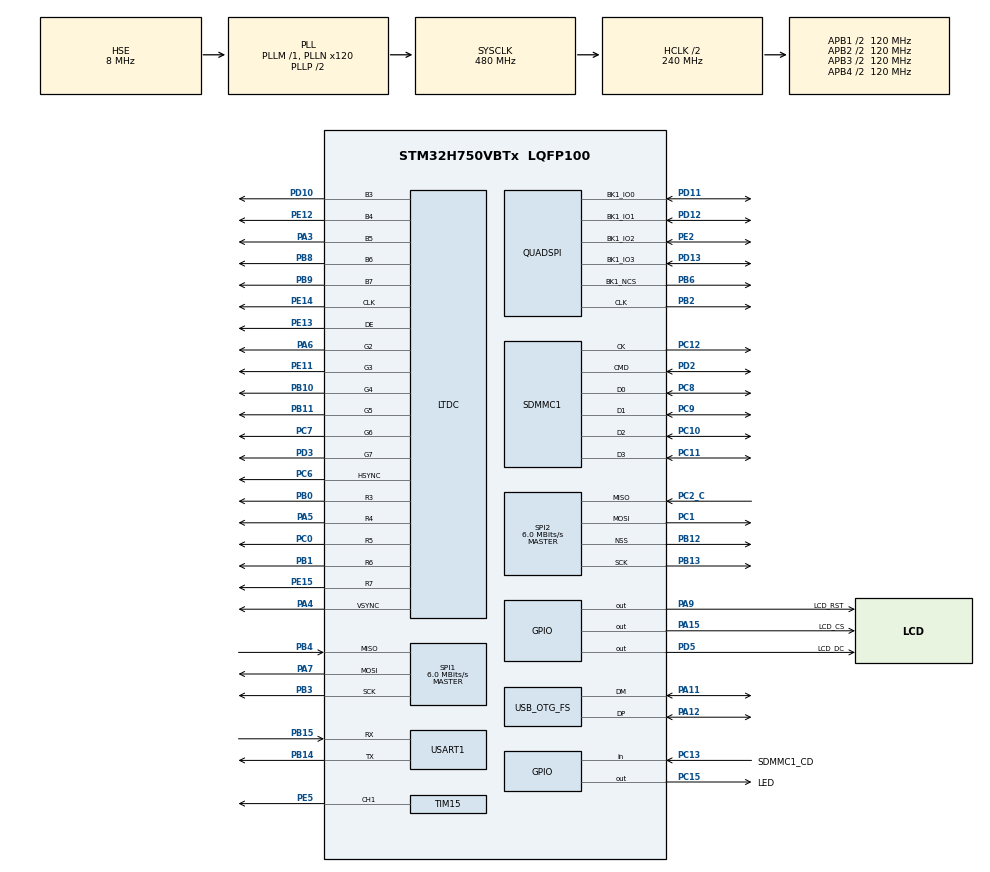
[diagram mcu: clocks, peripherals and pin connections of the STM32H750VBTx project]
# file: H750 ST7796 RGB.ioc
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DMA2D.BytesSwap=DMA2D_BYTES_REGULAR
DMA2D.ColorMode=DMA2D_OUTPUT_RGB565
DMA2D.LineOffsetMode=DMA2D_LOM_PIXELS
DMA2D.Mode=DMA2D_R2M
LTDC.ActiveH=480
LTDC.ActiveW=320
LTDC.Alpha_L0=0xFF
LTDC.Alpha_L1=0xFF
LTDC.BlendingFactor1_L0=LTDC_BLENDING_FACTOR1_CA
LTDC.BlendingFactor1_L1=LTDC_BLENDING_FACTOR1_PAxCA
LTDC.BlendingFactor2_L0=LTDC_BLENDING_FACTOR2_CA
LTDC.BlendingFactor2_L1=LTDC_BLENDING_FACTOR2_PAxCA
LTDC.FBStartAdress_L0=0x24000000
LTDC.FBStartAdress_L1=0x24025800
LTDC.HBP=20
LTDC.HFP=38
LTDC.HSync=10
LTDC.ImageHeight_L0=480
LTDC.ImageWidth_L0=320
LTDC.Layers=0
LTDC.PixelFormat_L0=LTDC_PIXEL_FORMAT_RGB565
LTDC.PixelFormat_L1=LTDC_PIXEL_FORMAT_RGB565
LTDC.VBP=4
LTDC.VFP=8
LTDC.VSync=4
LTDC.WindowX1_L0=320
LTDC.WindowX1_L1=240
LTDC.WindowY1_L0=480
LTDC.WindowY1_L1=320
Mcu.Family=STM32H7
Mcu.Name=STM32H750VBTx
Mcu.Package=LQFP100
NVIC.DMA2D_IRQn=true\:0\:0\:false\:false\:true\:true\:true
NVIC.PriorityGroup=NVIC_PRIORITYGROUP_4
PA11.Mode=Device_Only
PA11.Signal=USB_OTG_FS_DM
PA12.Mode=Device_Only
PA12.Signal=USB_OTG_FS_DP
PA13\ (JTMS/SWDIO).Mode=Serial_Wire
PA13\ (JTMS/SWDIO).Signal=DEBUG_JTMS-SWDIO
PA14\ (JTCK/SWCLK).Mode=Serial_Wire
PA14\ (JTCK/SWCLK).Signal=DEBUG_JTCK-SWCLK
PA15\ (JTDI).GPIO_Label=LCD_CS
PA15\ (JTDI).Signal=GPIO_Output
PA3.Mode=RGB565
PA3.Signal=LTDC_B5
PA4.Mode=RGB565
PA4.Signal=LTDC_VSYNC
PA5.Mode=RGB565
PA5.Signal=LTDC_R4
PA6.Mode=RGB565
PA6.Signal=LTDC_G2
PA7.Mode=Full_Duplex_Master
PA7.Signal=SPI1_MOSI
PA9.GPIO_Label=LCD_RST
PA9.Signal=GPIO_Output
PB0.Mode=RGB565
PB0.Signal=LTDC_R3
PB1.Mode=RGB565
PB1.Signal=LTDC_R6
PB10.Mode=RGB565
PB10.Signal=LTDC_G4
PB11.Mode=RGB565
PB11.Signal=LTDC_G5
PB12.Mode=NSS_Signal_Hard_Output
PB12.Signal=SPI2_NSS
PB13.Mode=Full_Duplex_Master
PB13.Signal=SPI2_SCK
PB14.Mode=Asynchronous
PB14.Signal=USART1_TX
PB15.Mode=Asynchronous
PB15.Signal=USART1_RX
PB2.Mode=Single Bank 1
PB2.Signal=QUADSPI_CLK
PB3\ (JTDO/TRACESWO).Mode=Full_Duplex_Master
PB3\ (JTDO/TRACESWO).Signal=SPI1_SCK
PB4\ (NJTRST).Mode=Full_Duplex_Master
PB4\ (NJTRST).Signal=SPI1_MISO
PB6.Mode=Single Bank 1
PB6.Signal=QUADSPI_BK1_NCS
PB8.Mode=RGB565
PB8.Signal=LTDC_B6
PB9.Mode=RGB565
PB9.Signal=LTDC_B7
PC0.Mode=RGB565
PC0.Signal=LTDC_R5
PC1.Mode=Full_Duplex_Master
PC1.Signal=SPI2_MOSI
PC10.Mode=SD_4_bits_Wide_bus
PC10.Signal=SDMMC1_D2
PC11.Mode=SD_4_bits_Wide_bus
PC11.Signal=SDMMC1_D3
PC12.Mode=SD_4_bits_Wide_bus
PC12.Signal=SDMMC1_CK
PC13.GPIO_Label=SDMMC1_CD
PC13.Signal=GPIO_Input
PC15-OSC32_OUT\ (OSC32_OUT).GPIO_Label=LED
PC15-OSC32_OUT\ (OSC32_OUT).Signal=GPIO_Output
PC2_C.Mode=Full_Duplex_Master
PC2_C.Signal=SPI2_MISO
PC6.Mode=RGB565
PC6.Signal=LTDC_HSYNC
PC7.Mode=RGB565
PC7.Signal=LTDC_G6
PC8.Mode=SD_4_bits_Wide_bus
PC8.Signal=SDMMC1_D0
PC9.Mode=SD_4_bits_Wide_bus
PC9.Signal=SDMMC1_D1
PD10.Mode=RGB565
PD10.Signal=LTDC_B3
PD11.Mode=Single Bank 1
PD11.Signal=QUADSPI_BK1_IO0
PD12.Mode=Single Bank 1
PD12.Signal=QUADSPI_BK1_IO1
PD13.Mode=Single Bank 1
PD13.Signal=QUADSPI_BK1_IO3
PD2.Mode=SD_4_bits_Wide_bus
PD2.Signal=SDMMC1_CMD
PD3.Mode=RGB565
PD3.Signal=LTDC_G7
PD5.GPIO_Label=LCD_DC
PD5.Signal=GPIO_Output
PE11.Mode=RGB565
PE11.Signal=LTDC_G3
PE12.Mode=RGB565
PE12.Signal=LTDC_B4
PE13.Mode=RGB565
PE13.Signal=LTDC_DE
PE14.Mode=RGB565
PE14.Signal=LTDC_CLK
PE15.Mode=RGB565
PE15.Signal=LTDC_R7
PE2.Mode=Single Bank 1
PE2.Signal=QUADSPI_BK1_IO2
PE5.Signal=S_TIM15_CH1
PH0-OSC_IN\ (PH0).Mode=HSE-External-Oscillator
PH0-OSC_IN\ (PH0).Signal=RCC_OSC_IN
PH1-OSC_OUT\ (PH1).Mode=HSE-External-Oscillator
PH1-OSC_OUT\ (PH1).Signal=RCC_OSC_OUT
ProjectManager.HeapSize=0x2000
ProjectManager.StackSize=0x4000
ProjectManager.TargetToolchain=STM32CubeIDE
RCC.ADCFreq_Value=120000000
RCC.APB1Freq_Value=120000000
RCC.APB2Freq_Value=120000000
RCC.APB3Freq_Value=120000000
RCC.APB4Freq_Value=120000000
RCC.CortexFreq_Value=480000000
RCC.D1PPRE=RCC_APB3_DIV2
RCC.D2PPRE1=RCC_APB1_DIV2
RCC.D2PPRE2=RCC_APB2_DIV2
RCC.D3PPRE=RCC_APB4_DIV2
RCC.DIVM1=1
RCC.DIVM2=1
RCC.DIVM3=4
RCC.DIVN1=120
RCC.DIVN2=30
RCC.DIVN3=48
RCC.DIVQ1=20
RCC.DIVR2=10
RCC.DIVR3=8
RCC.HCLKFreq_Value=240000000
RCC.HPRE=RCC_HCLK_DIV2
RCC.HSE_VALUE=8000000
RCC.PLL2FRACN=0
RCC.PLLFRACN=0
RCC.QSPICLockSelection=RCC_QSPICLKSOURCE_PLL2
RCC.SDMMC1CLockSelection=RCC_SDMMCCLKSOURCE_PLL2
RCC.SYSCLKFreq_VALUE=480000000
RCC.SYSCLKSource=RCC_SYSCLKSOURCE_PLLCLK
RCC.USBFreq_Value=48000000
SH.S_TIM15_CH1.0=TIM15_CH1,PWM Generation1 CH1
SPI1.BaudRatePrescaler=SPI_BAUDRATEPRESCALER_8
SPI1.CalculateBaudRate=6.0 MBits/s
SPI1.DataSize=SPI_DATASIZE_8BIT
SPI1.Direction=SPI_DIRECTION_2LINES
SPI1.Mode=SPI_MODE_MASTER
SPI1.VirtualType=VM_MASTER
SPI2.BaudRatePrescaler=SPI_BAUDRATEPRESCALER_8
SPI2.CalculateBaudRate=6.0 MBits/s
SPI2.DataSize=SPI_DATASIZE_8BIT
SPI2.Direction=SPI_DIRECTION_2LINES
SPI2.Mode=SPI_MODE_MASTER
SPI2.VirtualNSS=VM_NSSHARD
SPI2.VirtualType=VM_MASTER
TIM15.Channel-PWM\ Generation1\ CH1=TIM_CHANNEL_1
TIM15.Period=100
TIM15.Prescaler=4800-1
TIM15.Pulse-PWM\ Generation1\ CH1=500
USART1.VirtualMode-Asynchronous=VM_ASYNC
USB_OTG_FS.VirtualMode=Device_Only
VP_DMA2D_VS_DMA2D.Mode=DMA2D_Activate
VP_TIM15_VS_ClockSourceINT.Mode=Internal
board=custom

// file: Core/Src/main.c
/* USER CODE BEGIN Header */
/**
  ******************************************************************************
  * @file           : main.c
  * @brief          : Main program body
  ******************************************************************************
  * @attention
  *
  * <h2><center>&copy; Copyright (c) 2020 STMicroelectronics.
  * All rights reserved.</center></h2>
  *
  * This software component is licensed by ST under BSD 3-Clause license,
  * the "License"; You may not use this file except in compliance with the
  * License. You may obtain a copy of the License at:
  *                        opensource.org/licenses/BSD-3-Clause
  *
  ******************************************************************************
  */
/* USER CODE END Header */

#include "main.h"
#include "dma2d.h"
#include "ltdc.h"
#include "quadspi.h"
#include "sdmmc.h"
#include "spi.h"
#include "tim.h"
#include "usart.h"
#include "usb_otg.h"
#include "gpio.h"

/* USER CODE BEGIN Includes */
#include "ST7796S_RGB.h"

/* USER CODE END Includes */

/* USER CODE BEGIN PV */
uint32_t i;
volatile uint16_t *SDRAM;

/* USER CODE END PV */

void SystemClock_Config(void);

/* USER CODE BEGIN 0 */
void HAL_SYSTICK_Callback(void)
{
	static int cnt = -1000;

	cnt++;
	if(cnt > 500)
	{
		cnt = 0;

		HAL_GPIO_TogglePin(LED_GPIO_Port, LED_Pin);
	}
}

/* USER CODE END 0 */

int main(void)
{

  /* MCU Configuration--------------------------------------------------------*/

  /* Reset of all peripherals, Initializes the Flash interface and the Systick. */
  HAL_Init();

  /* Configure the system clock */
  SystemClock_Config();

  /* Initialize all configured peripherals */
  MX_GPIO_Init();
  MX_QUADSPI_Init();
  MX_SDMMC1_SD_Init();
  MX_USART1_UART_Init();
  MX_USB_OTG_FS_PCD_Init();
  MX_LTDC_Init();
  MX_SPI1_Init();
  MX_SPI2_Init();
  MX_TIM15_Init();
  MX_DMA2D_Init();
  /* USER CODE BEGIN 2 */
  ST7796_Init_RGB();
  HAL_TIM_PWM_Start(&htim15, TIM_CHANNEL_1);
  BSP_LCD_SetBackLight(100);

  BSP_LCD_Direction(1);
#if 0
	SDRAM = (volatile uint16_t *)0x24000000;
	for(i = 0; i < BSP_LCD_GetXSize() * BSP_LCD_GetYSize() / 5L; i++) SDRAM[i] = RED;
	for(i = 0; i < BSP_LCD_GetXSize() * BSP_LCD_GetYSize() / 5L; i++) SDRAM[i + (BSP_LCD_GetXSize() * BSP_LCD_GetYSize() / 5L) * 1L] = GREEN;
	for(i = 0; i < BSP_LCD_GetXSize() * BSP_LCD_GetYSize() / 5L; i++) SDRAM[i + (BSP_LCD_GetXSize() * BSP_LCD_GetYSize() / 5L) * 2L] = BLUE;
	for(i = 0; i < BSP_LCD_GetXSize() * BSP_LCD_GetYSize() / 5L; i++) SDRAM[i + (BSP_LCD_GetXSize() * BSP_LCD_GetYSize() / 5L) * 3L] = YELLOW;
	for(i = 0; i < BSP_LCD_GetXSize() * BSP_LCD_GetYSize() / 5L; i++) SDRAM[i + (BSP_LCD_GetXSize() * BSP_LCD_GetYSize() / 5L) * 4L] = ORANGE;
#else
	BSP_LCD_FillRect(0, (BSP_LCD_GetYSize() / 5) * 0, BSP_LCD_GetXSize(), BSP_LCD_GetYSize() / 5, RED);
	BSP_LCD_FillRect(0, (BSP_LCD_GetYSize() / 5) * 1, BSP_LCD_GetXSize(), BSP_LCD_GetYSize() / 5, GREEN);
	BSP_LCD_FillRect(0, (BSP_LCD_GetYSize() / 5) * 2, BSP_LCD_GetXSize(), BSP_LCD_GetYSize() / 5, BLUE);
	BSP_LCD_FillRect(0, (BSP_LCD_GetYSize() / 5) * 3, BSP_LCD_GetXSize(), BSP_LCD_GetYSize() / 5, YELLOW);
	BSP_LCD_FillRect(0, (BSP_LCD_GetYSize() / 5) * 4, BSP_LCD_GetXSize(), BSP_LCD_GetYSize() / 5, ORANGE);
#endif

	BSP_LCD_DrawLine(10, 20, 100, 200, LIGHTGREY);
	BSP_LCD_DrawRect(10, 20, 30, 40, OLIVE);
	BSP_LCD_FillTriangle(50, 200, 100, 50, 50, 300, PINK);

	BSP_LCD_DrawCircle(BSP_LCD_GetXSize()/2, BSP_LCD_GetYSize()/2, 100, WHITE);
	BSP_LCD_DrawCircle(BSP_LCD_GetXSize()/2, BSP_LCD_GetYSize()/2, 101, RED);
	BSP_LCD_DrawCircle(BSP_LCD_GetXSize()/2, BSP_LCD_GetYSize()/2, 102, GREEN);
	BSP_LCD_DrawCircle(BSP_LCD_GetXSize()/2, BSP_LCD_GetYSize()/2, 103, BLUE);
	BSP_LCD_DrawCircle(BSP_LCD_GetXSize()/2, BSP_LCD_GetYSize()/2, 104, YELLOW);
	BSP_LCD_DrawCircle(BSP_LCD_GetXSize()/2, BSP_LCD_GetYSize()/2, 105, CYAN);
	BSP_LCD_DrawCircle(BSP_LCD_GetXSize()/2, BSP_LCD_GetYSize()/2, 106, PURPLE);
	BSP_LCD_DrawCircle(BSP_LCD_GetXSize()/2, BSP_LCD_GetYSize()/2, 107, NAVY);
	BSP_LCD_DrawCircle(BSP_LCD_GetXSize()/2, BSP_LCD_GetYSize()/2, 108, WHITE);

  /* USER CODE END 2 */

  /* Infinite loop */
  while (1)
  {

  }
}

void SystemClock_Config(void)
{
  RCC_OscInitTypeDef RCC_OscInitStruct = {0};
  RCC_ClkInitTypeDef RCC_ClkInitStruct = {0};
  RCC_PeriphCLKInitTypeDef PeriphClkInitStruct = {0};

  /** Supply configuration update enable
  */
  HAL_PWREx_ConfigSupply(PWR_LDO_SUPPLY);
  /** Configure the main internal regulator output voltage
  */
  __HAL_PWR_VOLTAGESCALING_CONFIG(PWR_REGULATOR_VOLTAGE_SCALE0);

  while(!__HAL_PWR_GET_FLAG(PWR_FLAG_VOSRDY)) {}
  /** Macro to configure the PLL clock source
  */
  __HAL_RCC_PLL_PLLSOURCE_CONFIG(RCC_PLLSOURCE_HSE);
  /** Initializes the CPU, AHB and APB busses clocks
  */
  RCC_OscInitStruct.OscillatorType = RCC_OSCILLATORTYPE_HSE;
  RCC_OscInitStruct.HSEState = RCC_HSE_ON;
  RCC_OscInitStruct.PLL.PLLState = RCC_PLL_ON;
  RCC_OscInitStruct.PLL.PLLSource = RCC_PLLSOURCE_HSE;
  RCC_OscInitStruct.PLL.PLLM = 1;
  RCC_OscInitStruct.PLL.PLLN = 120;
  RCC_OscInitStruct.PLL.PLLP = 2;
  RCC_OscInitStruct.PLL.PLLQ = 20;
  RCC_OscInitStruct.PLL.PLLR = 2;
  RCC_OscInitStruct.PLL.PLLRGE = RCC_PLL1VCIRANGE_3;
  RCC_OscInitStruct.PLL.PLLVCOSEL = RCC_PLL1VCOWIDE;
  RCC_OscInitStruct.PLL.PLLFRACN = 0;
  if (HAL_RCC_OscConfig(&RCC_OscInitStruct) != HAL_OK)
  {
    Error_Handler();
  }
  /** Initializes the CPU, AHB and APB busses clocks
  */
  RCC_ClkInitStruct.ClockType = RCC_CLOCKTYPE_HCLK|RCC_CLOCKTYPE_SYSCLK
                              |RCC_CLOCKTYPE_PCLK1|RCC_CLOCKTYPE_PCLK2
                              |RCC_CLOCKTYPE_D3PCLK1|RCC_CLOCKTYPE_D1PCLK1;
  RCC_ClkInitStruct.SYSCLKSource = RCC_SYSCLKSOURCE_PLLCLK;
  RCC_ClkInitStruct.SYSCLKDivider = RCC_SYSCLK_DIV1;
  RCC_ClkInitStruct.AHBCLKDivider = RCC_HCLK_DIV2;
  RCC_ClkInitStruct.APB3CLKDivider = RCC_APB3_DIV2;
  RCC_ClkInitStruct.APB1CLKDivider = RCC_APB1_DIV2;
  RCC_ClkInitStruct.APB2CLKDivider = RCC_APB2_DIV2;
  RCC_ClkInitStruct.APB4CLKDivider = RCC_APB4_DIV2;

  if (HAL_RCC_ClockConfig(&RCC_ClkInitStruct, FLASH_LATENCY_4) != HAL_OK)
  {
    Error_Handler();
  }
  PeriphClkInitStruct.PeriphClockSelection = RCC_PERIPHCLK_LTDC|RCC_PERIPHCLK_USART1
                              |RCC_PERIPHCLK_SPI1|RCC_PERIPHCLK_SPI2
                              |RCC_PERIPHCLK_SDMMC|RCC_PERIPHCLK_USB
                              |RCC_PERIPHCLK_QSPI;
  PeriphClkInitStruct.PLL2.PLL2M = 1;
  PeriphClkInitStruct.PLL2.PLL2N = 30;
  PeriphClkInitStruct.PLL2.PLL2P = 2;
  PeriphClkInitStruct.PLL2.PLL2Q = 2;
  PeriphClkInitStruct.PLL2.PLL2R = 10;
  PeriphClkInitStruct.PLL2.PLL2RGE = RCC_PLL2VCIRANGE_3;
  PeriphClkInitStruct.PLL2.PLL2VCOSEL = RCC_PLL2VCOWIDE;
  PeriphClkInitStruct.PLL2.PLL2FRACN = 0;
  PeriphClkInitStruct.PLL3.PLL3M = 4;
  PeriphClkInitStruct.PLL3.PLL3N = 48;
  PeriphClkInitStruct.PLL3.PLL3P = 2;
  PeriphClkInitStruct.PLL3.PLL3Q = 2;
  PeriphClkInitStruct.PLL3.PLL3R = 8;
  PeriphClkInitStruct.PLL3.PLL3RGE = RCC_PLL3VCIRANGE_1;
  PeriphClkInitStruct.PLL3.PLL3VCOSEL = RCC_PLL3VCOWIDE;
  PeriphClkInitStruct.PLL3.PLL3FRACN = 0;
  PeriphClkInitStruct.QspiClockSelection = RCC_QSPICLKSOURCE_PLL2;
  PeriphClkInitStruct.SdmmcClockSelection = RCC_SDMMCCLKSOURCE_PLL2;
  PeriphClkInitStruct.Spi123ClockSelection = RCC_SPI123CLKSOURCE_PLL;
  PeriphClkInitStruct.Usart16ClockSelection = RCC_USART16CLKSOURCE_D2PCLK2;
  PeriphClkInitStruct.UsbClockSelection = RCC_USBCLKSOURCE_PLL;
  if (HAL_RCCEx_PeriphCLKConfig(&PeriphClkInitStruct) != HAL_OK)
  {
    Error_Handler();
  }
  /** Enable USB Voltage detector
  */
  HAL_PWREx_EnableUSBVoltageDetector();
}

void Error_Handler(void)
{
}

/************************ (C) COPYRIGHT STMicroelectronics *****END OF FILE****/
